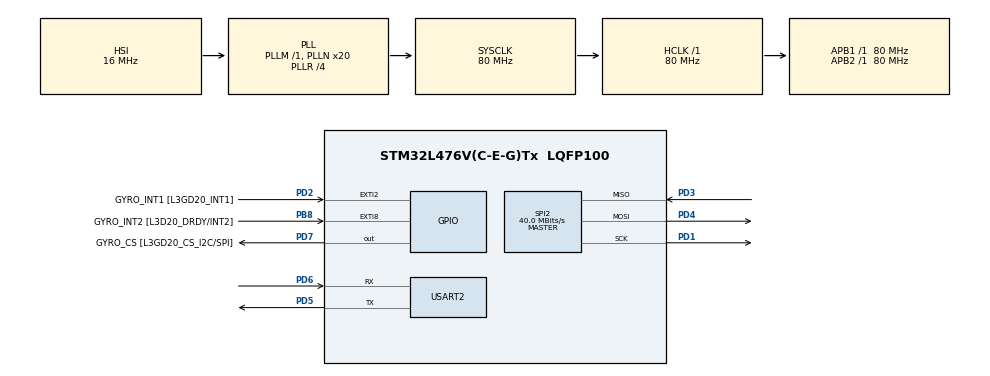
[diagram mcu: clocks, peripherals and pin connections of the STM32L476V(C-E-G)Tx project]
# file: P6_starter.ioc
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FREERTOS.Tasks01=defaultTask,0,128,StartDefaultTask,Default,NULL
FREERTOS.configTOTAL_HEAP_SIZE=10000
FREERTOS.configUSE_IDLE_HOOK=1
Mcu.Family=STM32L4
Mcu.Name=STM32L476V(C-E-G)Tx
Mcu.Package=LQFP100
NVIC.PriorityGroup=NVIC_PRIORITYGROUP_4
NVIC.TIM2_IRQn=true\:0\:0\:false\:false\:true\:false\:false
NVIC.TimeBase=TIM2_IRQn
NVIC.TimeBaseIP=TIM2
NVIC.USART2_IRQn=true\:5\:0\:false\:false\:true\:true\:true
PB8.GPIO_Label=GYRO_INT2 [L3D20_DRDY/INT2]
PB8.Signal=GPXTI8
PD1.Mode=Full_Duplex_Master
PD1.Signal=SPI2_SCK
PD2.GPIO_Label=GYRO_INT1 [L3GD20_INT1]
PD2.Signal=GPXTI2
PD3.Mode=Full_Duplex_Master
PD3.Signal=SPI2_MISO
PD4.Mode=Full_Duplex_Master
PD4.Signal=SPI2_MOSI
PD5.Mode=Asynchronous
PD5.Signal=USART2_TX
PD6.Mode=Asynchronous
PD6.Signal=USART2_RX
PD7.GPIO_Label=GYRO_CS [L3GD20_CS_I2C/SPI]
PD7.GPIO_Speed=GPIO_SPEED_FREQ_VERY_HIGH
PD7.Signal=GPIO_Output
ProjectManager.HeapSize=0x4000
ProjectManager.StackSize=0xF000
ProjectManager.TargetToolchain=MDK-ARM V5
RCC.ADCFreq_Value=96000000
RCC.AHBFreq_Value=80000000
RCC.APB1Freq_Value=80000000
RCC.APB1TimFreq_Value=80000000
RCC.APB2Freq_Value=80000000
RCC.APB2TimFreq_Value=80000000
RCC.CortexFreq_Value=80000000
RCC.HCLKFreq_Value=80000000
RCC.HSE_VALUE=8000000
RCC.HSI_VALUE=16000000
RCC.LSE_VALUE=32768
RCC.MSI_VALUE=4000000
RCC.PLLN=20
RCC.PLLR=RCC_PLLR_DIV4
RCC.PLLSAI1N=12
RCC.PLLSAI1Q=RCC_PLLQ_DIV4
RCC.PLLSourceVirtual=RCC_PLLSOURCE_HSI
RCC.SYSCLKFreq_VALUE=80000000
RCC.SYSCLKSource=RCC_SYSCLKSOURCE_PLLCLK
RCC.USBFreq_Value=48000000
RCC.VCOOutputFreq_Value=320000000
SPI2.CalculateBaudRate=40.0 MBits/s
SPI2.Direction=SPI_DIRECTION_2LINES
SPI2.Mode=SPI_MODE_MASTER
SPI2.VirtualType=VM_MASTER
TIM5.Period=20000
TIM5.Prescaler=79
USART2.VirtualMode-Asynchronous=VM_ASYNC
VP_FREERTOS_VS_ENABLE.Mode=Enabled
VP_RNG_VS_RNG.Mode=RNG_Activate
VP_SYS_VS_tim2.Mode=TIM2
VP_TIM5_VS_ClockSourceINT.Mode=Internal
board=custom

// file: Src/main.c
/* USER CODE BEGIN Header */
/**
  ******************************************************************************
  * @file           : main.c
  * @brief          : Main program body
  ******************************************************************************
  * This notice applies to any and all portions of this file
  * that are not between comment pairs USER CODE BEGIN and
  * USER CODE END. Other portions of this file, whether
  * inserted by the user or by software development tools
  * are owned by their respective copyright owners.
  *
  * Copyright (c) 2019 STMicroelectronics International N.V.
  * All rights reserved.
  *
  * Redistribution and use in source and binary forms, with or without
  * modification, are permitted, provided that the following conditions are met:
  *
  * 1. Redistribution of source code must retain the above copyright notice,
  *    this list of conditions and the following disclaimer.
  * 2. Redistributions in binary form must reproduce the above copyright notice,
  *    this list of conditions and the following disclaimer in the documentation
  *    and/or other materials provided with the distribution.
  * 3. Neither the name of STMicroelectronics nor the names of other
  *    contributors to this software may be used to endorse or promote products
  *    derived from this software without specific written permission.
  * 4. This software, including modifications and/or derivative works of this
  *    software, must execute solely and exclusively on microcontroller or
  *    microprocessor devices manufactured by or for STMicroelectronics.
  * 5. Redistribution and use of this software other than as permitted under
  *    this license is void and will automatically terminate your rights under
  *    this license.
  *
  * THIS SOFTWARE IS PROVIDED BY STMICROELECTRONICS AND CONTRIBUTORS "AS IS"
  * AND ANY EXPRESS, IMPLIED OR STATUTORY WARRANTIES, INCLUDING, BUT NOT
  * LIMITED TO, THE IMPLIED WARRANTIES OF MERCHANTABILITY, FITNESS FOR A
  * PARTICULAR PURPOSE AND NON-INFRINGEMENT OF THIRD PARTY INTELLECTUAL PROPERTY
  * RIGHTS ARE DISCLAIMED TO THE FULLEST EXTENT PERMITTED BY LAW. IN NO EVENT
  * SHALL STMICROELECTRONICS OR CONTRIBUTORS BE LIABLE FOR ANY DIRECT, INDIRECT,
  * INCIDENTAL, SPECIAL, EXEMPLARY, OR CONSEQUENTIAL DAMAGES (INCLUDING, BUT NOT
  * LIMITED TO, PROCUREMENT OF SUBSTITUTE GOODS OR SERVICES; LOSS OF USE, DATA,
  * OR PROFITS; OR BUSINESS INTERRUPTION) HOWEVER CAUSED AND ON ANY THEORY OF
  * LIABILITY, WHETHER IN CONTRACT, STRICT LIABILITY, OR TORT (INCLUDING
  * NEGLIGENCE OR OTHERWISE) ARISING IN ANY WAY OUT OF THE USE OF THIS SOFTWARE,
  * EVEN IF ADVISED OF THE POSSIBILITY OF SUCH DAMAGE.
  *
  ******************************************************************************
  */
/* USER CODE END Header */

#include "main.h"
#include "cmsis_os.h"
#include "rng.h"
#include "spi.h"
#include "tim.h"
#include "usart.h"
#include "gpio.h"

/* USER CODE BEGIN Includes */
#include "stdio.h"
#include "string.h"

#include "timer.h"
#include "PWM.h"
#include "servo_computer_task.h"
#include "servo_user_task.h"
#include "game_task.h"
#include "display_task.h"

/* USER CODE END Includes */

void SystemClock_Config(void);
void MX_FREERTOS_Init(void);

int main(void)
{

  /* MCU Configuration--------------------------------------------------------*/

  /* Reset of all peripherals, Initializes the Flash interface and the Systick. */
  HAL_Init();

  /* Configure the system clock */
  SystemClock_Config();

  /* Initialize all configured peripherals */
  MX_GPIO_Init();
  MX_USART2_UART_Init();
  MX_RNG_Init();
  MX_TIM5_Init();
  MX_SPI2_Init();
  /* USER CODE BEGIN 2 */

  gyro_task_init();

	InitTimer3();
	InitPWM();

	USART_Printf("Before task inits.\n\r");

	servo_user_task_init("USER SERVO TASK", 0);
	servo_computer_task_init("USER COMPUTER TASK", 1);
	game_task_init("GAME TASK");
	display_task_init("DISPLAY TASK");

	USART_Printf("After task inits.\n\r");

  /* USER CODE END 2 */

  /* Call init function for freertos objects (in freertos.c) */
  MX_FREERTOS_Init();

  /* Start scheduler */
  osKernelStart();

  /* We should never get here as control is now taken by the scheduler */

  /* Infinite loop */
  while (1)
  {

  }
}

void SystemClock_Config(void)
{
  RCC_OscInitTypeDef RCC_OscInitStruct = {0};
  RCC_ClkInitTypeDef RCC_ClkInitStruct = {0};
  RCC_PeriphCLKInitTypeDef PeriphClkInit = {0};

  /**Initializes the CPU, AHB and APB busses clocks
  */
  RCC_OscInitStruct.OscillatorType = RCC_OSCILLATORTYPE_HSI;
  RCC_OscInitStruct.HSIState = RCC_HSI_ON;
  RCC_OscInitStruct.HSICalibrationValue = RCC_HSICALIBRATION_DEFAULT;
  RCC_OscInitStruct.PLL.PLLState = RCC_PLL_ON;
  RCC_OscInitStruct.PLL.PLLSource = RCC_PLLSOURCE_HSI;
  RCC_OscInitStruct.PLL.PLLM = 1;
  RCC_OscInitStruct.PLL.PLLN = 20;
  RCC_OscInitStruct.PLL.PLLP = RCC_PLLP_DIV7;
  RCC_OscInitStruct.PLL.PLLQ = RCC_PLLQ_DIV2;
  RCC_OscInitStruct.PLL.PLLR = RCC_PLLR_DIV4;
  if (HAL_RCC_OscConfig(&RCC_OscInitStruct) != HAL_OK)
  {
    Error_Handler();
  }
  /**Initializes the CPU, AHB and APB busses clocks
  */
  RCC_ClkInitStruct.ClockType = RCC_CLOCKTYPE_HCLK|RCC_CLOCKTYPE_SYSCLK
                              |RCC_CLOCKTYPE_PCLK1|RCC_CLOCKTYPE_PCLK2;
  RCC_ClkInitStruct.SYSCLKSource = RCC_SYSCLKSOURCE_PLLCLK;
  RCC_ClkInitStruct.AHBCLKDivider = RCC_SYSCLK_DIV1;
  RCC_ClkInitStruct.APB1CLKDivider = RCC_HCLK_DIV1;
  RCC_ClkInitStruct.APB2CLKDivider = RCC_HCLK_DIV1;

  if (HAL_RCC_ClockConfig(&RCC_ClkInitStruct, FLASH_LATENCY_4) != HAL_OK)
  {
    Error_Handler();
  }
  PeriphClkInit.PeriphClockSelection = RCC_PERIPHCLK_USART2|RCC_PERIPHCLK_RNG;
  PeriphClkInit.Usart2ClockSelection = RCC_USART2CLKSOURCE_PCLK1;
  PeriphClkInit.RngClockSelection = RCC_RNGCLKSOURCE_PLLSAI1;
  PeriphClkInit.PLLSAI1.PLLSAI1Source = RCC_PLLSOURCE_HSI;
  PeriphClkInit.PLLSAI1.PLLSAI1M = 1;
  PeriphClkInit.PLLSAI1.PLLSAI1N = 12;
  PeriphClkInit.PLLSAI1.PLLSAI1P = RCC_PLLP_DIV7;
  PeriphClkInit.PLLSAI1.PLLSAI1Q = RCC_PLLQ_DIV4;
  PeriphClkInit.PLLSAI1.PLLSAI1R = RCC_PLLR_DIV2;
  PeriphClkInit.PLLSAI1.PLLSAI1ClockOut = RCC_PLLSAI1_48M2CLK;
  if (HAL_RCCEx_PeriphCLKConfig(&PeriphClkInit) != HAL_OK)
  {
    Error_Handler();
  }
  /**Configure the main internal regulator output voltage
  */
  if (HAL_PWREx_ControlVoltageScaling(PWR_REGULATOR_VOLTAGE_SCALE1) != HAL_OK)
  {
    Error_Handler();
  }
}

void HAL_TIM_PeriodElapsedCallback(TIM_HandleTypeDef *htim)
{
  if (htim->Instance == TIM2) {
    HAL_IncTick();
  }
}

void Error_Handler(void)
{
}

/************************ (C) COPYRIGHT STMicroelectronics *****END OF FILE****/
